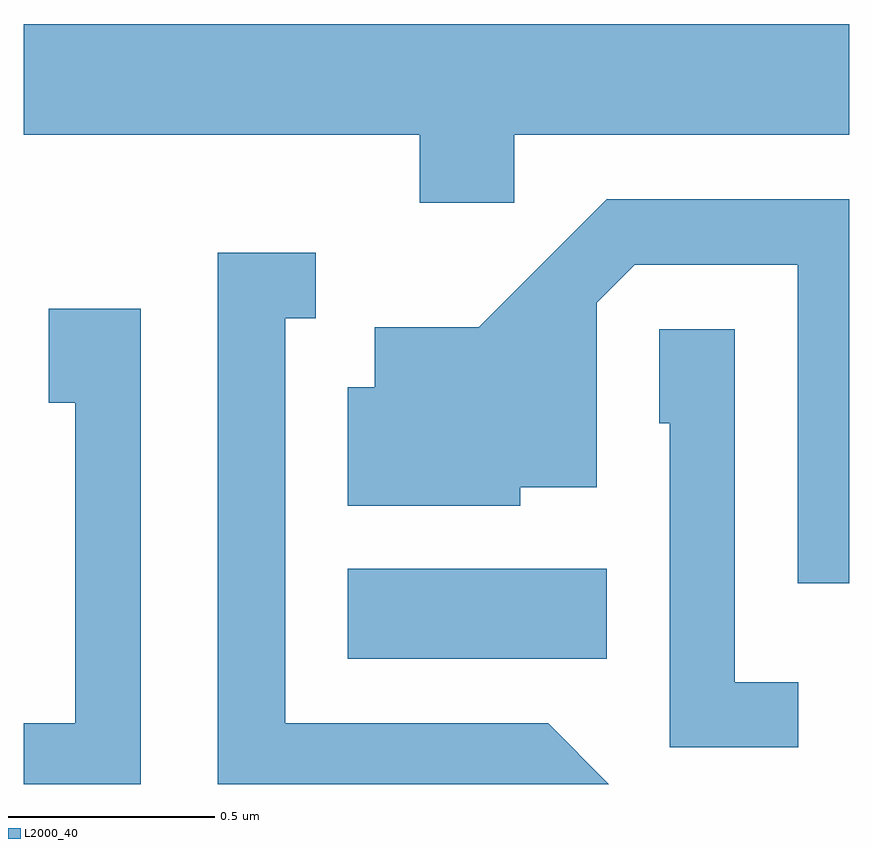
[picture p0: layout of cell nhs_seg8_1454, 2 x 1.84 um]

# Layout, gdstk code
import gdstk
lib = gdstk.Library(unit=1e-6, precision=1e-09)
def R(c, l, rs):  # rectangles x0, y0, x1, y1
    for r in rs: c.add(gdstk.rectangle(r[:2], r[2:], *l))
def P(c, l, *ps):  # polygons
    for p in ps: c.add(gdstk.Polygon(p, *l))
L2000_40 = (2000, 40)

nhs_seg8_1454 = lib.new_cell('nhs_seg8_1454')
R(nhs_seg8_1454, L2000_40, [(196.396,1890.646,197.024,1890.864)])
P(nhs_seg8_1454, L2000_40, [(196.799,1891.916),(197.611,1891.916),(197.611,1892.184),(195.611,1892.184),(195.611,1891.916),(196.571,1891.916),(196.571,1891.751),(196.799,1891.751)],
  [(197.611,1891.759),(197.024,1891.759),(196.714,1891.449),(196.461,1891.449),(196.461,1891.304),(196.396,1891.304),(196.396,1891.016),(196.814,1891.016),(196.814,1891.061),(196.999,1891.061),(196.999,1891.509),(197.092,1891.601),(197.486,1891.601),(197.486,1890.828),(197.611,1890.828)],
  [(196.882,1890.489),(196.244,1890.489),(196.244,1891.471),(196.318,1891.471),(196.318,1891.629),(196.081,1891.629),(196.081,1890.342),(197.029,1890.342)],
  [(195.894,1891.494),(195.671,1891.494),(195.671,1891.266),(195.736,1891.266),(195.736,1890.489),(195.611,1890.489),(195.611,1890.342),(195.894,1890.342)],
  [(197.488,1890.589),(197.334,1890.589),(197.334,1891.444),(197.151,1891.444),(197.151,1891.216),(197.176,1891.216),(197.176,1890.431),(197.488,1890.431)])

lib.write_gds('nhs_seg8_1454.gds')
